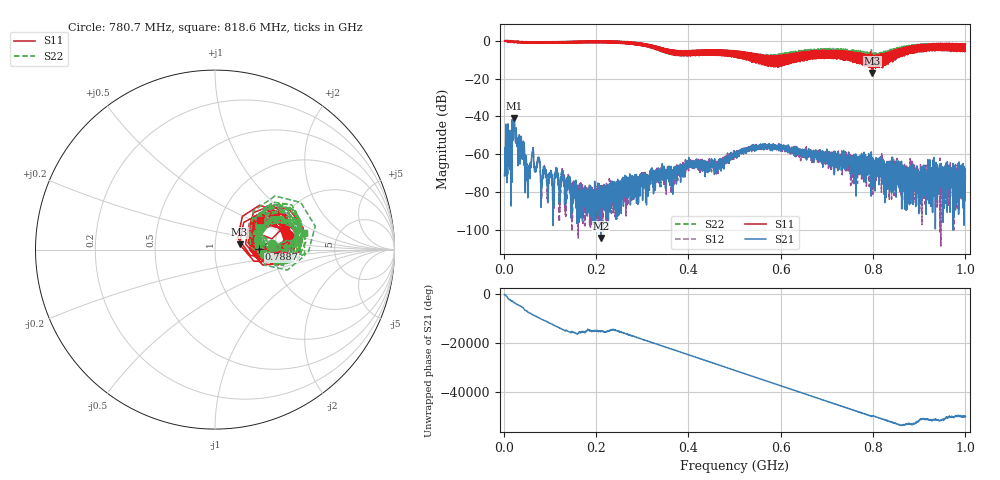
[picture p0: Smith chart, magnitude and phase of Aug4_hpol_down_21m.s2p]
!Keysight Technologies N9923A: A.12.45
!Date: Tuesday, 05 August 2025 18:23:59
!Timezone: (UTC+08:00) Kuala Lumpur, Singapore
!Model: N9923A
!Serial: MY61181427
!GPS Latitude:
!GPS Longitude:
!GPS TimeStamp: 0001-01-01 00:00:00Z
!GPS Seconds Since Last Read: 0
!CHECKSUM:0816515405
!Correction: S11(ON U)S21(ON U)S12(ON U)S22(ON U)
!S2P File: Measurements:S11,S21,S12,S22:
# Hz S DB R 50
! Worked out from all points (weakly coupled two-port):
!   4001 points, 2 MHz to 1 GHz, reference 50 ohm
!   highest |S21| = -40.90 dB at 22.96 MHz (marker M1); lowest = -104.1 dB at 211.1 MHz (marker M2)
!   lowest |S11| = -17.1 dB at 798.7 MHz (marker M3), VSWR 1.32, Z = 65.7 + j3.91 ohm
!   |S11| at or under -10 dB: 569.0709 MHz to 569.8864 MHz (815.5 kHz wide, 0.143 % of centre); 575.8162 MHz to 576.6587 MHz (842.5 kHz wide, 0.146 % of centre); 582.5598 MHz to 583.4218 MHz (861.9 kHz wide, 0.148 % of centre)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
!   |S22| runs from -14.0 to 0.1 dB; largest |S21 - S12| = 0.0013
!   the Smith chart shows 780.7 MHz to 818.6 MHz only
!   S11 on the Smith chart (normalised r, x): 780.7 MHz: 2.33, +0.47; 788.7 MHz: 1.65, +0.01; 818.6 MHz: 1.54, +0.55
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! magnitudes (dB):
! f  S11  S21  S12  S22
! 2 MHz  -0.1  -71.3  -71.5  -0.1
! 22.96 MHz  -0.8  -40.9  -40.7  -1.0
! 40.42 MHz  -1.0  -62.6  -62.3  -0.6
! 50.9 MHz  -1.2  -73.0  -71.1  -1.3
! 62.63 MHz  -1.3  -59.0  -58.5  -1.3
! 83.84 MHz  -0.7  -73.2  -73.0  -0.6
! 168.4 MHz  -1.2  -86.3  -84.4  -1.0
! 211.1 MHz  -0.3  -104.1  -84.6  -0.3
! 334.8 MHz  -4.1  -70.5  -69.3  -4.8
! 364.5 MHz  -7.3  -68.3  -67.8  -7.3
! 399.7 MHz  -7.9  -64.1  -64.3  -7.8
! 458.8 MHz  -5.9  -66.8  -66.4  -6.8
! 501 MHz  -6.1  -59.8  -59.5  -7.1
! 564.6 MHz  -11.8  -57.3  -56.1  -11.8
! 667.4 MHz  -8.7  -58.6  -58.5  -8.1
! 780.7 MHz  -7.5  -61.4  -61.1  -9.9
! 788.7 MHz  -12.2  -64.4  -61.1  -10.7
! 798.7 MHz  -17.1  -66.1  -62.7  -8.7
! 818.6 MHz  -10.5  -63.7  -66.2  -5.9
! 833.8 MHz  -9.2  -66.7  -75.0  -5.4
! 897 MHz  -3.4  -72.0  -79.4  -5.7
! 1 GHz  -1.8  -73.3  -72.7  -3.5
